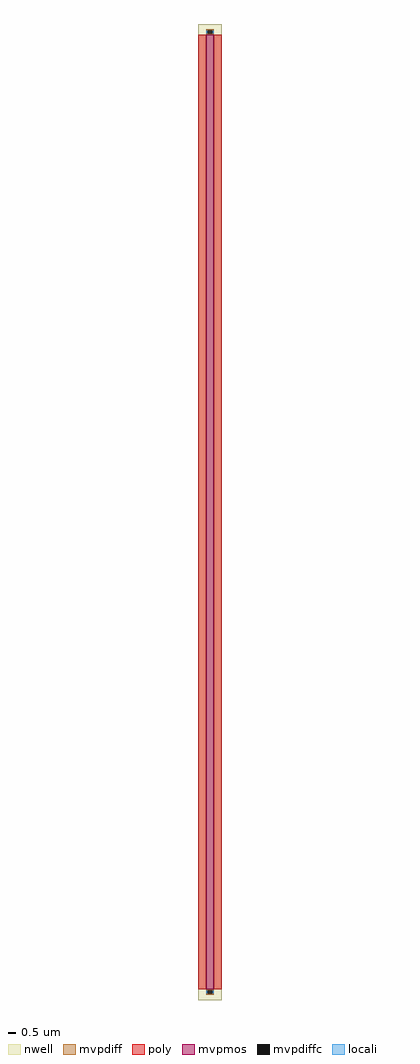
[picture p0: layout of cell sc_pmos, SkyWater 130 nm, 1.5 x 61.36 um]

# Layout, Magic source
magic
tech sky130A
<< nwell >>
rect 200 1464 350 7600
<< mvpmos >>
rect 250 1532 300 7532
<< mvpdiff >>
rect 250 7558 300 7567
rect 250 7541 258 7558
rect 292 7541 300 7558
rect 250 7532 300 7541
rect 250 1523 300 1532
rect 250 1506 258 1523
rect 292 1506 300 1523
rect 250 1497 300 1506
<< mvpdiffc >>
rect 258 7541 292 7558
rect 258 1506 292 1523
<< poly >>
rect 200 1532 250 7532
rect 300 1532 350 7532
<< locali >>
rect 250 7541 258 7558
rect 292 7541 300 7558
rect 250 1506 258 1523
rect 292 1506 300 1523
<< end >>
